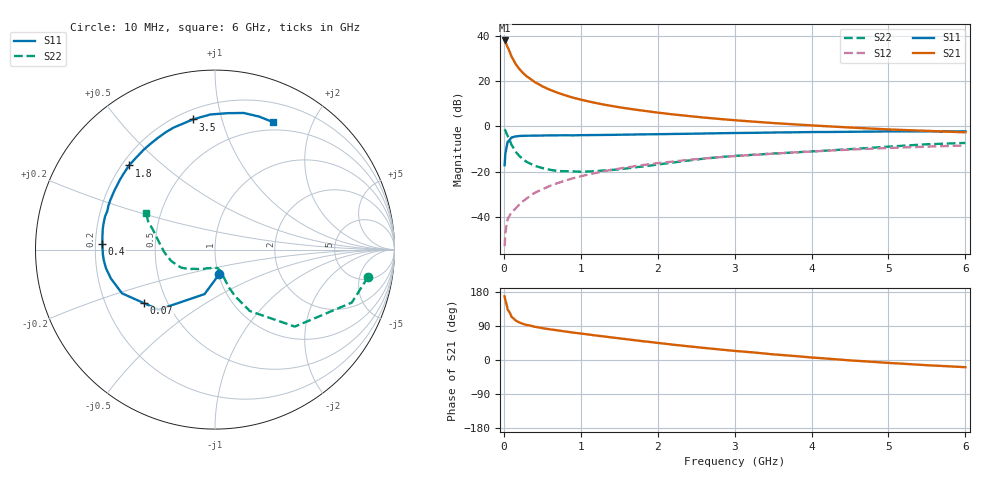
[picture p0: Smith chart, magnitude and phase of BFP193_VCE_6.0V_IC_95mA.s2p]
! Infineon Technologies  Discrete & RF Semiconductors
! BFP193
! VCE =  6.0 V,  IC =  95 mA
! Common Emitter S-Parameters:  Jan 2017
# GHz  S  MA  R  50
!  f  S11  S21  S12  S22
! GHz  MAG  ANG  MAG  ANG  MAG  ANG  MAG  ANG
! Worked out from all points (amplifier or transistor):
!   77 points, 10 MHz to 6 GHz, reference 50 ohm
!   highest |S21| = 37.9 dB at 10 MHz (marker M1)
!   |S21| within 3 dB of that: start of sweep to 49.75 MHz
!   unconditionally stable (mu >= 1): 298.4 MHz to 2.653 GHz
!   at 130 MHz: K = 0.76, MSG = 33.0 dB, |S12| = -36.9 dB
!   at 2.2 GHz: K = 1.02, MAG = 9.4 dB, |S12| = -15.5 dB
!   at 6 GHz: K = 0.93, MSG = 2.9 dB, |S12| = -8.4 dB
!   S11 on the Smith chart (normalised r, x): 10 MHz: 1.01, -0.28; 70 MHz: 0.37, -0.29; 400 MHz: 0.23, +0.02; 1.8 GHz: 0.23, +0.39; 3.5 GHz: 0.26, +0.81; 6 GHz: 0.40, +1.47
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0.01  0.14 -80.7  78.61 168.0  0.0023 73.1  0.8665 -10.1
0.02  0.2546 -103.2  75.36 157.1  0.0045 80.0  0.8171 -21.2
0.05  0.4593 -133.2  55.53 132.8  0.009 61.8  0.6174 -44.0
0.07  0.4956 -143.0  46.62 127.2  0.0105 60.7  0.523 -48.9
0.1  0.5723 -154.8  34.63 113.6  0.0127 59.6  0.3928 -60.5
0.15  0.6024 -164.6  24.32 104.6  0.0154 60.2  0.2832 -66.7
0.2  0.6164 -170.4  18.62 99.2  0.0189 65.3  0.2244 -69.8
0.25  0.6225 -174.6  15.04 95.1  0.0226 66.1  0.1896 -71.0
0.3  0.6253 -177.8  12.6 92.4  0.0261 68.5  0.164 -72.4
0.4  0.6286 177.3  9.551 87.8  0.0343 70.8  0.1359 -73.8
0.5  0.6317 173.0  7.667 84.1  0.0412 71.1  0.1213 -76.2
0.6  0.6358 169.6  6.428 80.9  0.049 71.3  0.111 -79.3
0.7  0.6377 166.5  5.523 78.1  0.0565 72.0  0.1043 -81.6
0.9  0.6372 160.3  4.315 72.4  0.0722 70.6  0.102 -88.8
1.1  0.6454 154.5  3.565 67.3  0.0874 69.0  0.1019 -96.5
1.8  0.67 135.6  2.241 49.7  0.1406 61.0  0.131 -125.5
2.1  0.6788 127.9  1.931 42.9  0.1619 57.1  0.1526 -135.0
3.1  0.7199 106.9  1.332 22.4  0.2278 44.1  0.2295 -158.1
3.5  0.7355 99.7  1.19 14.9  0.2518 39.6  0.2529 -165.7
4.1  0.7543 90.5  1.033 5.2  0.2863 32.2  0.2879 -179.2
5.1  0.7778 76.8  0.848 -8.8  0.3396 20.3  0.3676 161.7
6  0.7802 65.7  0.743 -19.0  0.3817 9.9  0.4337 152.2
